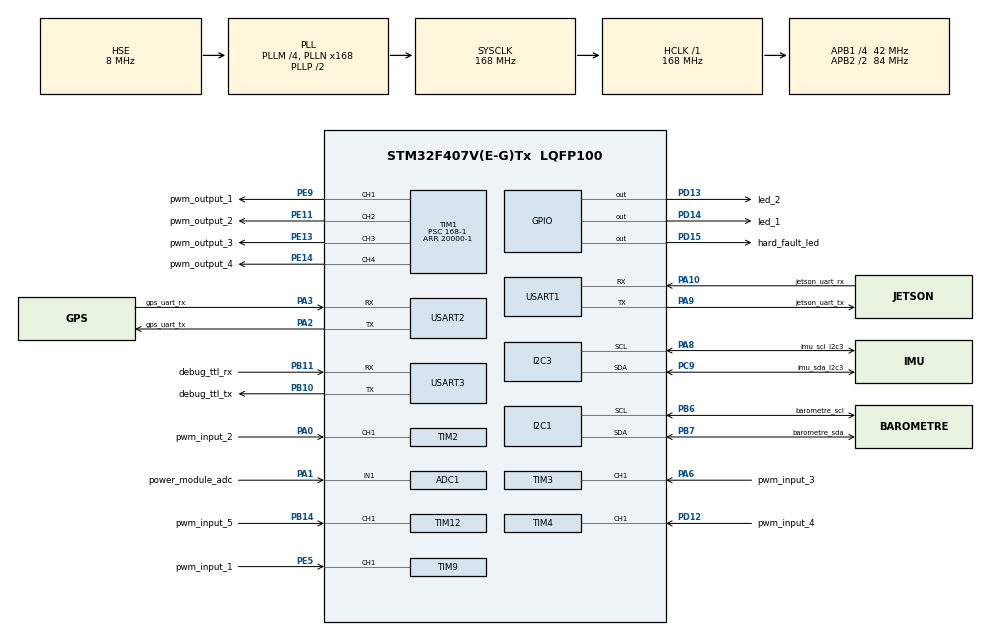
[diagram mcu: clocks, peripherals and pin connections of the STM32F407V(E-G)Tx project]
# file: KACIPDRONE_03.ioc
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ADC1.Channel-0\#ChannelRegularConversion=ADC_CHANNEL_1
ADC1.NbrOfConversionFlag=1
ADC1.Rank-0\#ChannelRegularConversion=1
ADC1.SamplingTime-0\#ChannelRegularConversion=ADC_SAMPLETIME_480CYCLES
ADC1.master=1
FREERTOS.Tasks01=sendDataTask,-3,128,StartSendDataTask,Default,NULL,Dynamic,NULL,NULL;barometerTask,-3,128,startBarometerTask,Default,NULL,Dynamic,NULL,NULL;escTask,-3,128,startEscTask,Default,NULL,Dynamic,NULL,NULL;imuTask,3,128,StartImuTask,Default,NULL,Dynamic,NULL,NULL;batteryTask,-3,128,StartBatteryTask,Default,NULL,Dynamic,NULL,NULL;gpsTask,-3,128,StartGPSTask,Default,NULL,Dynamic,NULL,NULL
FREERTOS.configLIBRARY_LOWEST_INTERRUPT_PRIORITY=15
FREERTOS.configLIBRARY_MAX_SYSCALL_INTERRUPT_PRIORITY=5
FREERTOS.configUSE_NEWLIB_REENTRANT=1
I2C3.I2C_Mode=I2C_Fast
Mcu.Family=STM32F4
Mcu.Name=STM32F407V(E-G)Tx
Mcu.Package=LQFP100
NVIC.PriorityGroup=NVIC_PRIORITYGROUP_4
NVIC.TIM1_BRK_TIM9_IRQn=true\:5\:0\:true\:false\:true\:true\:true\:true\:true
NVIC.TIM1_UP_TIM10_IRQn=true\:15\:0\:false\:false\:true\:false\:false\:true\:true
NVIC.TIM2_IRQn=true\:6\:0\:true\:false\:true\:true\:true\:true\:true
NVIC.TIM3_IRQn=true\:7\:0\:true\:false\:true\:true\:true\:true\:true
NVIC.TIM4_IRQn=true\:8\:0\:true\:false\:true\:true\:true\:true\:true
NVIC.TIM8_BRK_TIM12_IRQn=true\:9\:0\:true\:false\:true\:true\:true\:true\:true
NVIC.TimeBase=TIM1_UP_TIM10_IRQn
NVIC.TimeBaseIP=TIM10
NVIC.USART2_IRQn=true\:10\:0\:true\:false\:true\:true\:true\:true\:true
NVIC.USART3_IRQn=true\:11\:0\:true\:false\:true\:true\:true\:true\:true
PA0-WKUP.GPIO_Label=pwm_input_2
PA0-WKUP.Signal=S_TIM2_CH1_ETR
PA1.GPIO_Label=power_module_adc
PA1.Signal=ADCx_IN1
PA10.GPIO_Label=jetson_uart_rx
PA10.Mode=Asynchronous
PA10.Signal=USART1_RX
PA13.Mode=Serial_Wire
PA13.Signal=SYS_JTMS-SWDIO
PA14.Mode=Serial_Wire
PA14.Signal=SYS_JTCK-SWCLK
PA2.GPIO_Label=gps_uart_tx
PA2.Mode=Asynchronous
PA2.Signal=USART2_TX
PA3.GPIO_Label=gps_uart_rx
PA3.Mode=Asynchronous
PA3.Signal=USART2_RX
PA6.GPIO_Label=pwm_input_3
PA6.Signal=S_TIM3_CH1
PA8.GPIO_Label=imu_scl_i2c3
PA8.Mode=I2C
PA8.Signal=I2C3_SCL
PA9.GPIO_Label=jetson_uart_tx
PA9.Mode=Asynchronous
PA9.Signal=USART1_TX
PB10.GPIO_Label=debug_ttl_tx
PB10.Mode=Asynchronous
PB10.Signal=USART3_TX
PB11.GPIO_Label=debug_ttl_rx
PB11.Mode=Asynchronous
PB11.Signal=USART3_RX
PB14.GPIO_Label=pwm_input_5
PB14.Signal=S_TIM12_CH1
PB6.GPIO_Label=barometre_scl
PB6.Mode=I2C
PB6.Signal=I2C1_SCL
PB7.GPIO_Label=barometre_sda
PB7.Mode=I2C
PB7.Signal=I2C1_SDA
PC14-OSC32_IN.Mode=LSE-External-Oscillator
PC14-OSC32_IN.Signal=RCC_OSC32_IN
PC15-OSC32_OUT.Mode=LSE-External-Oscillator
PC15-OSC32_OUT.Signal=RCC_OSC32_OUT
PC9.GPIO_Label=imu_sda_i2c3
PC9.Mode=I2C
PC9.Signal=I2C3_SDA
PD12.GPIO_Label=pwm_input_4
PD12.Signal=S_TIM4_CH1
PD13.GPIO_Label=led_2
PD13.Signal=GPIO_Output
PD14.GPIO_Label=led_1
PD14.Signal=GPIO_Output
PD15.GPIO_Label=hard_fault_led
PD15.Signal=GPIO_Output
PE11.GPIO_Label=pwm_output_2
PE11.Signal=S_TIM1_CH2
PE13.GPIO_Label=pwm_output_3
PE13.Signal=S_TIM1_CH3
PE14.GPIO_Label=pwm_output_4
PE14.Signal=S_TIM1_CH4
PE5.GPIO_Label=pwm_input_1
PE5.Signal=S_TIM9_CH1
PE9.GPIO_Label=pwm_output_1
PE9.Signal=S_TIM1_CH1
PH0-OSC_IN.Mode=HSE-External-Oscillator
PH0-OSC_IN.Signal=RCC_OSC_IN
PH1-OSC_OUT.Mode=HSE-External-Oscillator
PH1-OSC_OUT.Signal=RCC_OSC_OUT
ProjectManager.HeapSize=0x200
ProjectManager.StackSize=0x400
ProjectManager.TargetToolchain=STM32CubeIDE
RCC.48MHZClocksFreq_Value=84000000
RCC.AHBFreq_Value=168000000
RCC.APB1CLKDivider=RCC_HCLK_DIV4
RCC.APB1Freq_Value=42000000
RCC.APB1TimFreq_Value=84000000
RCC.APB2CLKDivider=RCC_HCLK_DIV2
RCC.APB2Freq_Value=84000000
RCC.APB2TimFreq_Value=168000000
RCC.CortexFreq_Value=168000000
RCC.HCLKFreq_Value=168000000
RCC.HSE_VALUE=8000000
RCC.HSI_VALUE=16000000
RCC.PLLM=4
RCC.PLLN=168
RCC.PLLSourceVirtual=RCC_PLLSOURCE_HSE
RCC.SYSCLKFreq_VALUE=168000000
RCC.SYSCLKSource=RCC_SYSCLKSOURCE_PLLCLK
RCC.VCOOutputFreq_Value=336000000
SH.ADCx_IN1.0=ADC1_IN1,IN1
SH.S_TIM12_CH1.0=TIM12_CH1,PWM_Input_1
SH.S_TIM1_CH1.0=TIM1_CH1,PWM Generation1 CH1
SH.S_TIM1_CH2.0=TIM1_CH2,PWM Generation2 CH2
SH.S_TIM1_CH3.0=TIM1_CH3,PWM Generation3 CH3
SH.S_TIM1_CH4.0=TIM1_CH4,PWM Generation4 CH4
SH.S_TIM2_CH1_ETR.0=TIM2_CH1,PWM_Input_1
SH.S_TIM3_CH1.0=TIM3_CH1,PWM_Input_1
SH.S_TIM4_CH1.0=TIM4_CH1,PWM_Input_1
SH.S_TIM9_CH1.0=TIM9_CH1,PWM_Input_1
TIM1.AutoReloadPreload=TIM_AUTORELOAD_PRELOAD_ENABLE
TIM1.Channel-PWM\ Generation1\ CH1=TIM_CHANNEL_1
TIM1.Channel-PWM\ Generation2\ CH2=TIM_CHANNEL_2
TIM1.Channel-PWM\ Generation3\ CH3=TIM_CHANNEL_3
TIM1.Channel-PWM\ Generation4\ CH4=TIM_CHANNEL_4
TIM1.Period=20000-1
TIM1.Prescaler=168-1
TIM12.Period=20000-1
TIM12.Prescaler=210-1
TIM2.Period=20000-1
TIM2.Prescaler=2100-1
TIM3.Period=20000-1
TIM3.Prescaler=210-1
TIM4.Period=20000-1
TIM4.Prescaler=210-1
TIM5.Period=1000000-1
TIM5.Prescaler=84-1
TIM6.Period=2000-1
TIM6.Prescaler=42000-1
TIM9.Period=20000-1
TIM9.Prescaler=420-1
USART1.VirtualMode=VM_ASYNC
USART2.VirtualMode=VM_ASYNC
USART3.VirtualMode=VM_ASYNC
VP_FREERTOS_VS_CMSIS_V1.Mode=CMSIS_V1
VP_SYS_VS_tim10.Mode=TIM10
VP_TIM12_VS_ClockSourceINT.Mode=Internal
VP_TIM1_VS_ClockSourceINT.Mode=Internal
VP_TIM2_VS_ClockSourceINT.Mode=Internal
VP_TIM3_VS_ClockSourceINT.Mode=Internal
VP_TIM4_VS_ClockSourceINT.Mode=Internal
VP_TIM5_VS_ClockSourceINT.Mode=Internal
VP_TIM6_VS_ClockSourceINT.Mode=Enable_Timer
VP_TIM9_VS_ClockSourceINT.Mode=Internal
board=custom

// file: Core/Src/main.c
/* USER CODE BEGIN Header */
/**
 ******************************************************************************
 * @file           : main.c
 * @brief          : Main program body
 ******************************************************************************
 * @attention
 *
 * Copyright (c) 2023 STMicroelectronics.
 * All rights reserved.
 *
 * This software is licensed under terms that can be found in the LICENSE file
 * in the root directory of this software component.
 * If no LICENSE file comes with this software, it is provided AS-IS.
 *
 ******************************************************************************
 */
/* USER CODE END Header */
#include "main.h"
#include "cmsis_os.h"
#include "adc.h"
#include "i2c.h"
#include "tim.h"
#include "usart.h"
#include "gpio.h"

/* USER CODE BEGIN Includes */
#include "pwm_input.h"
#include "BME280_STM32.h"
#include "esc.h"
#include "sendDataToJetson.h"
#include "math.h"
#include "string.h"
#include "stdbool.h"
#include "uartRingBuffer.h"
//#include "bno055_stm32.h"
/* USER CODE END Includes */

/* USER CODE BEGIN PD */

uartBuffer_t uartBuffer;

/* USER CODE END PD */

/* USER CODE BEGIN PV */
pwm_input_t rc_roll;
pwm_input_t rc_yaw;
pwm_input_t rc_mode;
pwm_input_t rc_throttle;
pwm_input_t rc_pitch;

failsafe_t failsafe;

/* USER CODE END PV */

void SystemClock_Config(void);
void MX_FREERTOS_Init(void);

/* USER CODE BEGIN 0 */
int _write(int file, char *ptr, int len) {
	HAL_UART_Transmit(&huart3, (uint8_t*) ptr, len, HAL_MAX_DELAY);
	return len;
}
void HAL_TIM_IC_CaptureCallback(TIM_HandleTypeDef *htim) {
	pwm_read_ch1();
	pwm_read_ch2();
	pwm_read_ch3();
	pwm_read_ch4();
	pwm_read_ch5();

	if (rc_throttle.dutyCycle < 1000) {
		failsafe.flag = true;
	} else {
		failsafe.flag = false;
	}
}

/* USER CODE END 0 */

int main(void) {

	/* MCU Configuration--------------------------------------------------------*/

	/* Reset of all peripherals, Initializes the Flash interface and the Systick. */
	HAL_Init();

	/* Configure the system clock */
	SystemClock_Config();

	/* Initialize all configured peripherals */
	MX_GPIO_Init();
	MX_TIM1_Init();
	MX_ADC1_Init();
	MX_I2C1_Init();
	MX_I2C3_Init();
	MX_TIM2_Init();
	MX_TIM3_Init();
	MX_TIM9_Init();
	MX_TIM12_Init();
	MX_USART1_UART_Init();
	MX_USART2_UART_Init();
	MX_USART3_UART_Init();
	MX_TIM4_Init();
	MX_TIM5_Init();
	MX_TIM6_Init();
	/* USER CODE BEGIN 2 */
	HAL_UART_Receive_IT(&huart3, (uint8_t*) uartBuffer.buffer, 8);

	HAL_TIM_Base_Start(&htim5);
	HAL_TIM_Base_Start(&htim6);

	//Ringbuf_init();

	HAL_Delay(500);

	init_esc();

	pwm_enabled();

	/* USER CODE END 2 */

	/* Call init function for freertos objects (in freertos.c) */
	MX_FREERTOS_Init();

	/* Start scheduler */
	osKernelStart();

	/* We should never get here as control is now taken by the scheduler */
	/* Infinite loop */
	while (1) {

	}
}

void SystemClock_Config(void) {
	RCC_OscInitTypeDef RCC_OscInitStruct = { 0 };
	RCC_ClkInitTypeDef RCC_ClkInitStruct = { 0 };

	/** Configure the main internal regulator output voltage
	 */
	__HAL_RCC_PWR_CLK_ENABLE();
	__HAL_PWR_VOLTAGESCALING_CONFIG(PWR_REGULATOR_VOLTAGE_SCALE1);

	/** Initializes the RCC Oscillators according to the specified parameters
	 * in the RCC_OscInitTypeDef structure.
	 */
	RCC_OscInitStruct.OscillatorType = RCC_OSCILLATORTYPE_HSE;
	RCC_OscInitStruct.HSEState = RCC_HSE_ON;
	RCC_OscInitStruct.PLL.PLLState = RCC_PLL_ON;
	RCC_OscInitStruct.PLL.PLLSource = RCC_PLLSOURCE_HSE;
	RCC_OscInitStruct.PLL.PLLM = 4;
	RCC_OscInitStruct.PLL.PLLN = 168;
	RCC_OscInitStruct.PLL.PLLP = RCC_PLLP_DIV2;
	RCC_OscInitStruct.PLL.PLLQ = 4;
	if (HAL_RCC_OscConfig(&RCC_OscInitStruct) != HAL_OK) {
		Error_Handler();
	}

	/** Initializes the CPU, AHB and APB buses clocks
	 */
	RCC_ClkInitStruct.ClockType = RCC_CLOCKTYPE_HCLK | RCC_CLOCKTYPE_SYSCLK
			| RCC_CLOCKTYPE_PCLK1 | RCC_CLOCKTYPE_PCLK2;
	RCC_ClkInitStruct.SYSCLKSource = RCC_SYSCLKSOURCE_PLLCLK;
	RCC_ClkInitStruct.AHBCLKDivider = RCC_SYSCLK_DIV1;
	RCC_ClkInitStruct.APB1CLKDivider = RCC_HCLK_DIV4;
	RCC_ClkInitStruct.APB2CLKDivider = RCC_HCLK_DIV2;

	if (HAL_RCC_ClockConfig(&RCC_ClkInitStruct, FLASH_LATENCY_5) != HAL_OK) {
		Error_Handler();
	}
}

void HAL_TIM_PeriodElapsedCallback(TIM_HandleTypeDef *htim) {
	if (htim->Instance == TIM10) {
		HAL_IncTick();
	}
}

void Error_Handler(void) {
	__disable_irq();
	while (1) {
	}
}

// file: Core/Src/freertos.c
/* USER CODE BEGIN Header */
/**
 ******************************************************************************
 * File Name          : freertos.c
 * Description        : Code for freertos applications
 ******************************************************************************
 * @attention
 *
 * Copyright (c) 2023 STMicroelectronics.
 * All rights reserved.
 *
 * This software is licensed under terms that can be found in the LICENSE file
 * in the root directory of this software component.
 * If no LICENSE file comes with this software, it is provided AS-IS.
 *
 ******************************************************************************
 */
/* USER CODE END Header */

#include "FreeRTOS.h"
#include "task.h"
#include "main.h"
#include "cmsis_os.h"

/* USER CODE BEGIN Includes */
#include "BME280_STM32.h"
#include "math.h"
#include "stdio.h"
#include "usart.h"
#include "stdlib.h"
#include "string.h"
#include "stdbool.h"
#include "bno055_stm32.h"
#include "power_module.h"
#include "pwm_input.h"
#include "PIController.h"
#include "tim.h"
#include "NMEA.h"
#include "esc.h"
#include "uartRingBuffer.h"
/* USER CODE END Includes */

/* USER CODE BEGIN PD */

//TUM BUNLARDAN BAZILARINI MUHTEMELEN YORUMA CEKECEGIZ, AYRICA HER BIRINE IDEAL DEGER ATANACAK
#define PITCH_KP 5.0	//DEGISECEK, PID PARAMETRELERI
#define PITCH_KI 0.000001
#define PITCH_KD 110000

#define ROLL_KP 5.0	//DEGISECEK, PID PARAMETRELERI
#define ROLL_KI 0.000001
#define ROLL_KD 110000

#define YAW_KP 0.31	//DEGISECEK, PID PARAMETRELERI
#define YAW_KI 0.0000001
#define YAW_KD 0

#define SAMPLE_TIME_BAROMETER 100
#define SAMPLE_TIME_POWER_MODULE 2000

#define SAMPLE_TIME_GPS 100

#define SAMPLE_TIME_TX 1000
#define SAMPLE_TIME_IMU 4//20ye veya 2ye çekicez
#define SAMPLE_TIME_ESC 20//100		//bu da imu da daha hızlı olmalı, tx*5 olabilir

#define SAMPLE_TIME_FAILSAFE 100
#define FAILSAFE_ACTIVATE_TIME 1500//6000olacak giriyor

#define FAILSAFE_VOLTAGE 15.2	//DEGISECEK
#define DEAD_VOLTAGE 14.2

#define PWM_POS_PITCH 1700//jetsondan gelen verilere göre pozitif veya negatif pitch/roll vereceğiz
#define PWM_NOTR_PITCH 1500	//take off landing ve stabil olması için
#define PWM_NEG_PITCH 1300//bunlar da onların sabit pwmleri, sabit olmazsa değiştiririz

#define PITCH_MIN_ANGLE -45
#define PITCH_MAX_ANGLE 45
#define ROLL_MIN_ANGLE -45
#define ROLL_MAX_ANGLE 45

#define PWM_POS_ROLL 1700
#define PWM_NOTR_ROLL 1500
#define PWM_NEG_ROLL 1300

#define PWM_CRUISE 1800

#define MANUAL_MODE 0//otonom manual modda olduğunu gösterecek
#define AUTONOMOUS_MODE 1
#define SAFETY_MODE 2

#define TAKEOFF_STEP_TIME 1000
#define LAND_STEP_TIME 1500

#define TRUE '1'
#define FALSE '0'
#define START 's'
#define FINISH 'f'

/* USER CODE END PD */

/* USER CODE BEGIN Variables */

// ************************   PID start   *********************************
PIDController pitch_pid_t;
PIDController roll_pid_t;
PIDController yaw_pid_t;
//PIDController height_pid_t;
int deltaT = 0;
bno055_vector_t imu;
// ************************   PID finish   *********************************

// ************************   ESC start   *********************************
int PID_ROLL = 0, PID_PITCH = 0, PID_YAW = 0, THROTTLE = 0;
uint8_t drive_mode = MANUAL_MODE; //otonom olacağı zaman 1de başlat
esc_t esc;
//otonom manual modda olduğunu gösterecek
// ************************   ESC finish   *********************************

// ************************   UART start   *********************************
extern uartBuffer_t uartBuffer;
char ptr[100];
// ************************   UART finish   *********************************

// ************************   Battery start   *********************************
battery_t battery;
// ************************   Battery finish   *********************************

// ************************   Barometre start   *********************************
bme280_t bme280;
// ************************   Barometre finish   *********************************

// ************************   GPS start   *********************************
char GGA[100];
char RMC[100];
GPSSTRUCT gpsData;
int flagGGA = 0, flagRMC = 0;
int VCCTimeout = 5000;
// ************************   GPS finish   *********************************
// ************************   FAILSAFE start   *********************************
extern failsafe_t failsafe;
// ************************   FAILSAFE finish   *********************************

/* USER CODE END Variables */
osThreadId sendDataTaskHandle;
osThreadId barometerTaskHandle;
osThreadId escTaskHandle;
osThreadId imuTaskHandle;
osThreadId batteryTaskHandle;
osThreadId gpsTaskHandle;

void StartSendDataTask(void const *argument);
void startBarometerTask(void const *argument);
void startEscTask(void const *argument);
void StartImuTask(void const *argument);
void StartBatteryTask(void const *argument);
void StartGPSTask(void const *argument);

void MX_FREERTOS_Init(void); /* (MISRA C 2004 rule 8.1) */

/* GetIdleTaskMemory prototype (linked to static allocation support) */
void vApplicationGetIdleTaskMemory(StaticTask_t **ppxIdleTaskTCBBuffer,
		StackType_t **ppxIdleTaskStackBuffer, uint32_t *pulIdleTaskStackSize);

/* USER CODE BEGIN GET_IDLE_TASK_MEMORY */
static StaticTask_t xIdleTaskTCBBuffer;
static StackType_t xIdleStack[configMINIMAL_STACK_SIZE];

void vApplicationGetIdleTaskMemory(StaticTask_t **ppxIdleTaskTCBBuffer,
		StackType_t **ppxIdleTaskStackBuffer, uint32_t *pulIdleTaskStackSize) {
	*ppxIdleTaskTCBBuffer = &xIdleTaskTCBBuffer;
	*ppxIdleTaskStackBuffer = &xIdleStack[0];
	*pulIdleTaskStackSize = configMINIMAL_STACK_SIZE;
	/* place for user code */
}
/* USER CODE END GET_IDLE_TASK_MEMORY */

void MX_FREERTOS_Init(void) {

	/* Create the thread(s) */
	/* definition and creation of sendDataTask */
	osThreadDef(sendDataTask, StartSendDataTask, osPriorityIdle, 0, 128);
	sendDataTaskHandle = osThreadCreate(osThread(sendDataTask), NULL);

	/* definition and creation of barometerTask */
	osThreadDef(barometerTask, startBarometerTask, osPriorityIdle, 0, 128);
	barometerTaskHandle = osThreadCreate(osThread(barometerTask), NULL);

	/* definition and creation of escTask */
	osThreadDef(escTask, startEscTask, osPriorityIdle, 0, 128);
	escTaskHandle = osThreadCreate(osThread(escTask), NULL);

	/* definition and creation of imuTask */
	osThreadDef(imuTask, StartImuTask, osPriorityRealtime, 0, 128);
	imuTaskHandle = osThreadCreate(osThread(imuTask), NULL);

	/* definition and creation of batteryTask */
	osThreadDef(batteryTask, StartBatteryTask, osPriorityIdle, 0, 128);
	batteryTaskHandle = osThreadCreate(osThread(batteryTask), NULL);

	/* definition and creation of gpsTask */
	osThreadDef(gpsTask, StartGPSTask, osPriorityIdle, 0, 128);
	gpsTaskHandle = osThreadCreate(osThread(gpsTask), NULL);

}

void StartSendDataTask(void const *argument) {
	/* USER CODE BEGIN StartSendDataTask */

	/* Infinite loop */
	for (;;) {
		//  Datalar S + IMU (pitch roll yaw) + Barometre + Sürüş Mode + Power Status + F
		/*
		 printf(data);
		 printf(ptr);
		 printf(newLine);
		 */
		//jetsona iletilen veriler
		/*
		 printf("s");
		 gcvt(imu.y, 8, ptr);
		 printf(ptr);
		 printf(",");

		 gcvt(imu.z, 8, ptr);
		 printf(ptr);
		 printf(",");

		 gcvt(imu.x, 8, ptr);
		 printf(ptr);
		 printf(",");

		 gcvt(bme280.altitude, 8, ptr);
		 printf(ptr);
		 printf(",");

		 printf("%d", drive_mode);
		 printf(",");

		 gcvt(battery.voltage, 8, ptr);
		 printf(ptr);
		 printf("f\n");
		 */
		/*
		 gcvt(bme280.finalAltitude, 8, ptr);
		 printf("BAROMETRE = ");
		 printf(ptr);
		 printf("\n");
		 */

		/*
		 gcvt(gpsData.ggastruct.lcation.latitude, 8, ptr);
		 printf("Lat = ");
		 printf(ptr);
		 printf("\n");
		 gcvt(gpsData.ggastruct.lcation.longitude, 8, ptr);
		 printf("Long = ");
		 printf(ptr);
		 printf("\n");
		 //motorlara iletilen pwmler

		 IMUYaw = MAP(imu.x, 0.0, 360.0, -180.0, 180.0);
		 gcvt(IMUYaw, 8, ptr);
		 printf("\nIMU YAW = \n");
		 printf(ptr);
		 printf("\n----------\n");

		 gcvt(rc_yaw.rcToAngle, 6, ptr);
		 printf("\nKUMANDA YAW = \n");
		 printf(ptr);
		 printf("\n----------\n");
		 */
		/*
		 gcvt(rc_yaw.rcToAngle, 8, ptr);
		 printf("rc yaw to angle = ");
		 printf(ptr);
		 printf("\n");

		 gcvt(rc_yaw.dutyCycle, 8, ptr);
		 printf("yaw dutyCycle = ");
		 printf(ptr);
		 printf("\n\n");

		 gcvt(rc_roll.rcToAngle, 8, ptr);
		 printf("rc roll to angle = ");
		 printf(ptr);
		 printf("\n");

		 gcvt(rc_roll.dutyCycle, 8, ptr);
		 printf("roll dutyCycle = ");
		 printf(ptr);
		 printf("\n\n");

		 gcvt(rc_pitch.rcToAngle, 8, ptr);
		 printf("rc pitch to angle = ");
		 printf(ptr);
		 printf("\n");

		 gcvt(rc_pitch.dutyCycle, 8, ptr);
		 printf("pitch dutyCycle = ");
		 printf(ptr);
		 printf("\n\n\n----");

		 gcvt(rc_throttle.dutyCycle, 8, ptr);
		 printf("throttle dutyCycle = ");
		 printf(ptr);
		 printf("\n");
		 */
		/*
		 gcvt(imu.x, 8, ptr);
		 printf("yaw = ");
		 printf(ptr);
		 printf("\n");

		 printf("-------------------IMU------------\n");
		 gcvt(imu.y, 8, ptr);
		 printf("PITCH = ");
		 printf(ptr);
		 printf("\n");
		 gcvt(imu.z, 8, ptr);
		 printf("ROLL = ");
		 printf(ptr);
		 printf("\n");

		 gcvt(rc_mode.dutyCycle, 8, ptr);
		 printf("mode dutyCycle = ");
		 printf(ptr);

		 printf("\n\n");
		 if (failsafe.flag == true) {
		 printf("FAILSAFE IS ACTIVATED!\n");
		 }
		 */

		osDelay(SAMPLE_TIME_TX);
	}
	/* USER CODE END StartSendDataTask */
}

void startBarometerTask(void const *argument) {
	/* USER CODE BEGIN startBarometerTask */
	BME280_Config(OSRS_2, OSRS_16, OSRS_1, MODE_NORMAL, T_SB_0p5, IIR_16);
	osDelay(SAMPLE_TIME_BAROMETER);
	BME280_Measure();
	bme280.initialAltitude = 44330
			* (1
					- (pow(((float) bme280.pressure / (float) atmPress),
							0.19029495718)));
	/* Infinite loop */
	for (;;) {
		BME280_Measure();
		bme280.altitude = 44330
				* (1
						- (pow(((float) bme280.pressure / (float) atmPress),
								0.19029495718)));
		bme280.finalAltitude = bme280.altitude - bme280.initialAltitude;
		osDelay(SAMPLE_TIME_BAROMETER);
	}
	/* USER CODE END startBarometerTask */
}

void startEscTask(void const *argument) {
	/* USER CODE BEGIN startEscTask */
//init_esc();
	/* Infinite loop */
	for (;;) {
		if (AUTONOMOUS_MODE == drive_mode) {

			if (uartBuffer.movementData.takeoff == TRUE) { //OTONOM TAKE OFF
				osDelay(TAKEOFF_STEP_TIME);
				osDelay(TAKEOFF_STEP_TIME);

				set_pwm(PID_ROLL, PID_PITCH, PID_YAW, 1300, battery, esc);
				osDelay(TAKEOFF_STEP_TIME);

				set_pwm(PID_ROLL, PID_PITCH, PID_YAW, 1500, battery, esc);
				osDelay(TAKEOFF_STEP_TIME);

				set_pwm(PID_ROLL, PID_PITCH, PID_YAW, 1700, battery, esc);
				osDelay(TAKEOFF_STEP_TIME);

				set_pwm(PID_ROLL, PID_PITCH, PID_YAW, 1800, battery, esc);
				osDelay(TAKEOFF_STEP_TIME);

			} else if (uartBuffer.movementData.landing == TRUE) { //OTONOM LANDING

				set_pwm(PID_ROLL, PID_PITCH, PID_YAW, 1700, battery, esc);
				osDelay(LAND_STEP_TIME);

				set_pwm(PID_ROLL, PID_PITCH, PID_YAW, 1650, battery, esc);
				osDelay(LAND_STEP_TIME);

				set_pwm(PID_ROLL, PID_PITCH, PID_YAW, 1500, battery, esc);
				osDelay(LAND_STEP_TIME);

				set_pwm(PID_ROLL, PID_PITCH, PID_YAW, 1300, battery, esc);
				osDelay(LAND_STEP_TIME);

			} else {
				set_pwm(PID_ROLL, PID_PITCH, PID_YAW, PWM_CRUISE, battery, esc);
			}
		}

		else if (SAFETY_MODE == drive_mode) { //safe modda tüm motorları durdur
			drive_motor_1(MIN_PWM_OUTPUT);
			drive_motor_2(MIN_PWM_OUTPUT);
			drive_motor_3(MIN_PWM_OUTPUT);
			drive_motor_4(MIN_PWM_OUTPUT);
		} else { 	//aksi halde manuel sürüş
			set_pwm(PID_ROLL, PID_PITCH, PID_YAW, rc_throttle.dutyCycle,
					battery, esc); //ch3 throttle
		}

		osDelay(SAMPLE_TIME_ESC);

	}
	/* USER CODE END startEscTask */
}

void StartImuTask(void const *argument) {
	/* USER CODE BEGIN StartImuTask */
	bno055_assignI2C(&hi2c3);
	bno055_setup();
	bno055_setOperationModeNDOF();

	PIDController_Init(&pitch_pid_t); //pid sıfırlama
	PIDController_Init(&roll_pid_t);

//PITCH LIMITLERI
	pitch_pid_t.limMax = 150; //150;		//elde çalıştırınca buraları 0la	MAX
	pitch_pid_t.limMin = -150; //-150;

	pitch_pid_t.limMaxInt = 60;
	pitch_pid_t.limMinInt = -60;

//ROLL LIMITLERI
	roll_pid_t.limMax = 150; //150;	//elde çalıştırınca buraları 0la	MAX
	roll_pid_t.limMin = -150; //-150;

	roll_pid_t.limMaxInt = 60;		//İNTEGRAL LİMİT
	roll_pid_t.limMinInt = -60;

//YAW LIMITLERI
	yaw_pid_t.limMax = 50; //150;	//YAW LİMİT DÜZELT!!!!!!!!!!!!!!!!!!!!!!!!!!!!!!!!!!!!!!!!!!!!!!!!!!!!!
	yaw_pid_t.limMin = -50; //-150;

	yaw_pid_t.limMaxInt = 60;		//İNTEGRAL LİMİT
	yaw_pid_t.limMinInt = -60;

//PARAMETRE ATAMA
//pitch ve roll pid parametreleri x konfigurasyonunda aynı olabilir
	pitch_pid_t.Kp = PITCH_KP;
	pitch_pid_t.Ki = PITCH_KI;
	pitch_pid_t.Kd = PITCH_KD;

	roll_pid_t.Kp = ROLL_KP;
	roll_pid_t.Ki = ROLL_KI;
	roll_pid_t.Kd = ROLL_KD;

	yaw_pid_t.Kp = YAW_KP;
	yaw_pid_t.Ki = YAW_KI;
	yaw_pid_t.Kd = YAW_KD;

	pitch_pid_t.ID = PITCH_ID;
	roll_pid_t.ID = ROLL_ID;
	yaw_pid_t.ID = YAW_ID;

	for (;;) {
		imu = bno055_getVectorEuler();

		roll_pid_t.T = deltaT;
		pitch_pid_t.T = deltaT;
		yaw_pid_t.T = deltaT;

		__HAL_TIM_SET_COUNTER(&htim5, 0);

		//OTONOMDA ŞU AN YAW YOK!!!!!!!!!!!!!!!!!!!!
		if (AUTONOMOUS_MODE == drive_mode) { //roll ve pitch pozitif veya negatif olmayabilir iflere girmez

			//jetsondan gelen veriye göre wanted setpoint değerini burada güncelleyeceğiz
			//imuda x yaw y pitch z roll
			if (uartBuffer.movementData.pitchPositive == TRUE) {
				PID_PITCH = PIDController_Update(&pitch_pid_t, PWM_POS_PITCH,
						imu.y);	//pitch +180 -180 aralığında

			} else if (uartBuffer.movementData.pitchNegative == TRUE) {
				PID_PITCH = PIDController_Update(&pitch_pid_t, PWM_NEG_PITCH,
						imu.y);	//pitch +180 -180 aralığında

			} else if (uartBuffer.movementData.pitchNegative == FALSE
					&& uartBuffer.movementData.pitchPositive == FALSE) {
				PID_PITCH = PIDController_Update(&pitch_pid_t, PWM_NOTR_PITCH,
						imu.y);	//pitch +180 -180 aralığında

			}

			if (uartBuffer.movementData.rollPositive == TRUE) {
				PID_ROLL = PIDController_Update(&roll_pid_t, PWM_POS_ROLL,
						imu.z);	//roll +90 -90 aralığında

			} else if (uartBuffer.movementData.rollNegative == TRUE) {
				PID_ROLL = PIDController_Update(&roll_pid_t, PWM_NEG_ROLL,
						imu.z);	//roll +90 -90 aralığında

			} else if (uartBuffer.movementData.rollPositive == FALSE
					&& uartBuffer.movementData.rollNegative == FALSE) {
				PID_PITCH = PIDController_Update(&roll_pid_t, PWM_NOTR_ROLL,
						imu.z);	//roll +90 -90 aralığında

			}
		}

		else {	//kumanda bölümü
			if (rc_throttle.dutyCycle > 1200) {

				//kumanda map
				rc_pitch.rcToAngle = MAP(rc_pitch.dutyCycle, MIN_PWM_OUTPUT,
				MAX_PWM_OUTPUT, PITCH_MIN_ANGLE, PITCH_MAX_ANGLE);

				rc_roll.rcToAngle = MAP(rc_roll.dutyCycle, MIN_PWM_OUTPUT,
				MAX_PWM_OUTPUT, ROLL_MIN_ANGLE, ROLL_MAX_ANGLE);

				rc_yaw.rcToAngle = MAP(rc_yaw.dutyCycle, 1099, 1919, -180.0,
						180.0);

				PID_PITCH = PIDController_Update(&pitch_pid_t,
						rc_pitch.rcToAngle, imu.y);	//pitch +180 -180 aralığında
				PID_ROLL = PIDController_Update(&roll_pid_t, rc_roll.rcToAngle,
						imu.z);	//roll +90 -90 aralığında

				//IMUYaw = MAP(imu.x, 0.0, 360.0, -180.0, 180.0);

				PID_YAW = PIDController_Update(&yaw_pid_t, rc_yaw.rcToAngle,
						imu.x);	//yaw +0 +360 aralığında
				/*
				 gcvt(IMUYaw, 8, ptr);
				 printf("IMUYaw = ");
				 printf(ptr);
				 printf("\n");

				 gcvt(imu.x, 8, ptr);
				 printf("IMU X islenmemis = ");
				 printf(ptr);
				 printf("\n");
				 */

			}

		}

		//printf("PID_PITCH: %d\n", PID_PITCH);
		//printf("PID_ROLL: %d\n", PID_ROLL);

		osDelay(SAMPLE_TIME_IMU);

		deltaT = __HAL_TIM_GET_COUNTER(&htim5);
	}
	/* USER CODE END StartImuTask */
}

void StartBatteryTask(void const *argument) {
	/* USER CODE BEGIN StartBatteryTask */
//BatteryInit();
	/* Infinite loop */
	for (;;) {
		battery.voltage = getBatteryVoltage();

		if (battery.voltage < FAILSAFE_VOLTAGE
				&& battery.voltage >= DEAD_VOLTAGE) {
			battery.isBatteryLow = true;

		} else if (battery.voltage < DEAD_VOLTAGE) {
			battery.isBatteryDead = true;
			battery.isBatteryLow = false;
		} else {
			battery.isBatteryDead = false;
			battery.isBatteryLow = false;
		}
		if (battery.voltage < 14.3 && rc_throttle.dutyCycle < 1200.0) {
			HAL_GPIO_TogglePin(led_1_GPIO_Port, led_1_Pin);/*
			 printf("Low Battery!!!!!!!!!!!!!!!!!!!!!!!!!!!\n");
			 printf("Low Battery!!!\n");
			 printf("Low Battery!!!\n");
			 printf("Low Battery!!!\n");
			 printf("Low Battery!!!\n");
			 printf("Low Battery!!!\n");
			 printf("Low Battery!!!\n");
			 printf("Low Battery!!!\n");
			 printf("Low Battery!!!\n");
			 printf("Low Battery!!!\n");
			 printf("Low Battery!!!!!!!!!!!!!!!!!!!!!!!\n");*/
		}
		gcvt(battery.voltage, 8, ptr);
		printf("Battery Voltage = ");
		printf(ptr);
		printf("\n");
		osDelay(SAMPLE_TIME_POWER_MODULE);
	}
	/* USER CODE END StartBatteryTask */
}

void StartGPSTask(void const *argument) {
	/* USER CODE BEGIN StartGPSTask */
	/* Infinite loop */
	for (;;) {
		/*
		 if (Wait_for("GGA") == 1) {

		 VCCTimeout = 5000; // Reset the VCC Timeout indicating the GGA is being received

		 Copy_upto("*", GGA);
		 if (decodeGGA(GGA, &gpsData.ggastruct) == 0)
		 flagGGA = 2;  // 2 indicates the data is valid
		 else
		 flagGGA = 1;  // 1 indicates the data is invalid
		 }

		 if (Wait_for("RMC") == 1) {

		 VCCTimeout = 5000; // Reset the VCC Timeout indicating the RMC is being received

		 Copy_upto("*", RMC);
		 if (decodeRMC(RMC, &gpsData.rmcstruct) == 0)
		 flagRMC = 2;  // 2 indicates the data is valid
		 else
		 flagRMC = 1;  // 1 indicates the data is invalid
		 }

		 if ((flagGGA == 2) | (flagRMC == 2)) {
		 printf("2sinden 1 2 \n");
		 }

		 else if ((flagGGA == 1) | (flagRMC == 1)) {
		 // Instead of clearing the display, it's better if we print spaces.
		 // This will avoid the "refreshing" part
		 printf("2sinden 1i 1 \n");

		 }

		 if (VCCTimeout <= 0) {
		 VCCTimeout = 5000;  // Reset the timeout

		 //reset flags
		 flagGGA = flagRMC = 0;
		 printf("Timeout\n");

		 // You are here means the VCC is less, or maybe there is some connection issue
		 // Check the VCC, also you can try connecting to the external 5V
		 }
		 */
		osDelay(SAMPLE_TIME_GPS);
	}
	/* USER CODE END StartGPSTask */
}
